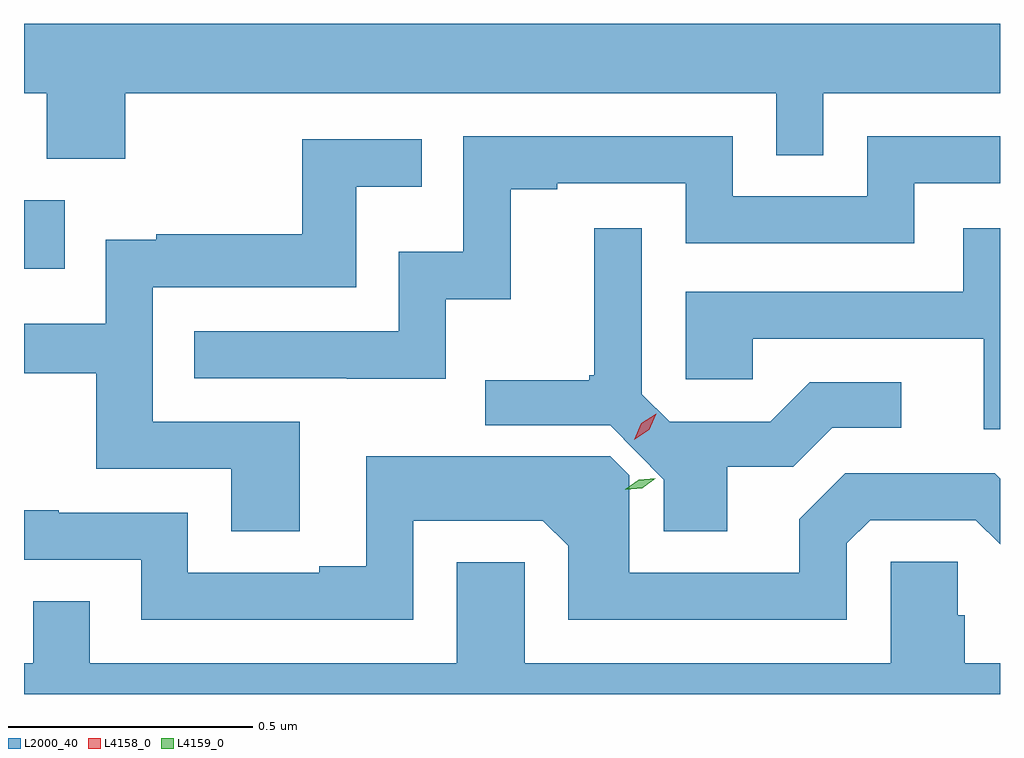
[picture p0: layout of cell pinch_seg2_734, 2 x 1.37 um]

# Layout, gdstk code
import gdstk
lib = gdstk.Library(unit=1e-6, precision=1e-09)
def R(c, l, rs):  # rectangles x0, y0, x1, y1
    for r in rs: c.add(gdstk.rectangle(r[:2], r[2:], *l))
def P(c, l, *ps):  # polygons
    for p in ps: c.add(gdstk.Polygon(p, *l))
L2000_40 = (2000, 40)
L4158_0 = (4158, 0)
L4159_0 = (4159, 0)

pinch_seg2_734 = lib.new_cell('pinch_seg2_734')
R(pinch_seg2_734, L2000_40, [(1127.184,584.672,1127.267,584.812)])
P(pinch_seg2_734, L2000_40, [(1127.391,585.032),(1128.726,585.032),(1128.726,584.905),(1128.822,584.905),(1128.822,585.032),(1129.184,585.032),(1129.184,585.174),(1127.184,585.174),(1127.184,585.032),(1127.231,585.032),(1127.231,584.897),(1127.391,584.897)],
  [(1128.048,584.609),(1128.181,584.609),(1128.181,584.835),(1128.277,584.835),(1128.277,584.847),(1128.54,584.847),(1128.54,584.724),(1129.008,584.724),(1129.008,584.847),(1129.184,584.847),(1129.184,584.943),(1128.912,584.943),(1128.912,584.82),(1128.636,584.82),(1128.636,584.943),(1128.084,584.943),(1128.084,584.707),(1127.952,584.707),(1127.952,584.544),(1127.533,584.544),(1127.533,584.448),(1127.845,584.448),(1127.845,584.447),(1128.048,584.447)],
  [(1127.749,584.358),(1127.448,584.358),(1127.448,584.634),(1127.865,584.634),(1127.865,584.84),(1127.999,584.84),(1127.999,584.937),(1127.754,584.937),(1127.754,584.743),(1127.455,584.743),(1127.455,584.731),(1127.352,584.731),(1127.352,584.559),(1127.184,584.559),(1127.184,584.458),(1127.332,584.458),(1127.332,584.262),(1127.609,584.262),(1127.609,584.134),(1127.749,584.134)],
  [(1129.184,584.755),(1129.109,584.755),(1129.109,584.625),(1128.54,584.625),(1128.54,584.445),(1128.677,584.445),(1128.677,584.529),(1129.151,584.529),(1129.151,584.343),(1129.184,584.343)],
  [(1128.625,584.266),(1128.76,584.266),(1128.84,584.346),(1128.982,584.346),(1128.982,584.439),(1128.794,584.439),(1128.713,584.358),(1128.507,584.358),(1128.45,584.415),(1128.45,584.755),(1128.353,584.755),(1128.353,584.454),(1128.342,584.454),(1128.342,584.443),(1128.129,584.443),(1128.129,584.351),(1128.385,584.351),(1128.495,584.24),(1128.495,584.134),(1128.625,584.134)],
  [(1127.982,584.156),(1128.247,584.156),(1128.299,584.104),(1128.299,583.953),(1128.87,583.953),(1128.87,584.109),(1128.918,584.157),(1129.134,584.157),(1129.184,584.107),(1129.184,584.242),(1129.173,584.253),(1128.867,584.253),(1128.773,584.159),(1128.773,584.049),(1128.424,584.049),(1128.424,584.249),(1128.385,584.288),(1127.885,584.288),(1127.885,584.062),(1127.789,584.062),(1127.789,584.049),(1127.52,584.049),(1127.52,584.172),(1127.255,584.172),(1127.255,584.177),(1127.184,584.177),(1127.184,584.076),(1127.424,584.076),(1127.424,583.953),(1127.982,583.953)],
  [(1129.184,583.864),(1129.112,583.864),(1129.112,583.962),(1129.097,583.962),(1129.097,584.072),(1128.96,584.072),(1128.96,583.864),(1128.21,583.864),(1128.21,584.071),(1128.071,584.071),(1128.071,583.864),(1127.319,583.864),(1127.319,583.991),(1127.203,583.991),(1127.203,583.864),(1127.184,583.864),(1127.184,583.8),(1129.184,583.8)])
P(pinch_seg2_734, L4158_0, [(1128.434,584.322),(1128.434,584.322),(1128.449,584.355),(1128.48,584.375),(1128.48,584.375),(1128.48,584.375),(1128.465,584.342),(1128.434,584.322)])
P(pinch_seg2_734, L4159_0, [(1128.416,584.219),(1128.416,584.219),(1128.416,584.22),(1128.444,584.24),(1128.479,584.243),(1128.479,584.243),(1128.479,584.243),(1128.451,584.222)])

lib.write_gds('pinch_seg2_734.gds')
